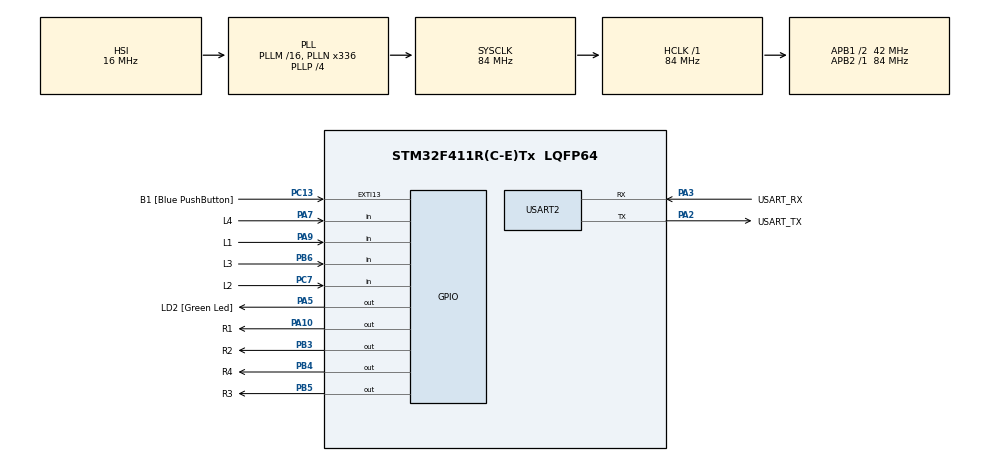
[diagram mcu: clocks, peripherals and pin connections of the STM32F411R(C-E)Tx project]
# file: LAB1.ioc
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Mcu.Family=STM32F4
Mcu.Name=STM32F411R(C-E)Tx
Mcu.Package=LQFP64
NVIC.PriorityGroup=NVIC_PRIORITYGROUP_0
PA10.GPIO_Label=R1
PA10.GPIO_ModeDefaultOutputPP=GPIO_MODE_OUTPUT_OD
PA10.GPIO_PuPd=GPIO_NOPULL
PA10.PinState=GPIO_PIN_SET
PA10.Signal=GPIO_Output
PA13.GPIO_Label=TMS
PA13.Mode=Serial_Wire
PA13.Signal=SYS_JTMS-SWDIO
PA14.GPIO_Label=TCK
PA14.Mode=Serial_Wire
PA14.Signal=SYS_JTCK-SWCLK
PA2.GPIO_Label=USART_TX
PA2.Mode=Asynchronous
PA2.Signal=USART2_TX
PA3.GPIO_Label=USART_RX
PA3.Mode=Asynchronous
PA3.Signal=USART2_RX
PA5.GPIO_Label=LD2 [Green Led]
PA5.Signal=GPIO_Output
PA7.GPIO_Label=L4
PA7.GPIO_PuPd=GPIO_PULLUP
PA7.Signal=GPIO_Input
PA9.GPIO_Label=L1
PA9.GPIO_PuPd=GPIO_PULLUP
PA9.Signal=GPIO_Input
PB3.GPIO_Label=R2
PB3.GPIO_ModeDefaultOutputPP=GPIO_MODE_OUTPUT_OD
PB3.GPIO_PuPd=GPIO_NOPULL
PB3.PinState=GPIO_PIN_SET
PB3.Signal=GPIO_Output
PB4.GPIO_Label=R4
PB4.GPIO_ModeDefaultOutputPP=GPIO_MODE_OUTPUT_OD
PB4.GPIO_PuPd=GPIO_NOPULL
PB4.PinState=GPIO_PIN_SET
PB4.Signal=GPIO_Output
PB5.GPIO_Label=R3
PB5.GPIO_ModeDefaultOutputPP=GPIO_MODE_OUTPUT_OD
PB5.GPIO_PuPd=GPIO_NOPULL
PB5.PinState=GPIO_PIN_SET
PB5.Signal=GPIO_Output
PB6.GPIO_Label=L3
PB6.GPIO_PuPd=GPIO_PULLUP
PB6.Signal=GPIO_Input
PC13-ANTI_TAMP.GPIO_Label=B1 [Blue PushButton]
PC13-ANTI_TAMP.GPIO_ModeDefaultEXTI=GPIO_MODE_IT_FALLING
PC13-ANTI_TAMP.Signal=GPXTI13
PC14-OSC32_IN.Mode=LSE-External-Oscillator
PC14-OSC32_IN.Signal=RCC_OSC32_IN
PC15-OSC32_OUT.Mode=LSE-External-Oscillator
PC15-OSC32_OUT.Signal=RCC_OSC32_OUT
PC7.GPIO_Label=L2
PC7.GPIO_PuPd=GPIO_PULLUP
PC7.Signal=GPIO_Input
PH0\ -\ OSC_IN.Mode=HSE-External-Clock-Source
PH0\ -\ OSC_IN.Signal=RCC_OSC_IN
PH1\ -\ OSC_OUT.Mode=HSE-External-Clock-Source
PH1\ -\ OSC_OUT.Signal=RCC_OSC_OUT
ProjectManager.HeapSize=0x200
ProjectManager.StackSize=0x400
ProjectManager.TargetToolchain=STM32CubeIDE
RCC.48MHZClocksFreq_Value=84000000
RCC.AHBFreq_Value=84000000
RCC.APB1CLKDivider=RCC_HCLK_DIV2
RCC.APB1Freq_Value=42000000
RCC.APB1TimFreq_Value=84000000
RCC.APB2Freq_Value=84000000
RCC.APB2TimFreq_Value=84000000
RCC.CortexFreq_Value=84000000
RCC.FLatency-AdvancedSettings=FLASH_LATENCY_2
RCC.HCLKFreq_Value=84000000
RCC.HSE_VALUE=8000000
RCC.HSI_VALUE=16000000
RCC.PLLN=336
RCC.PLLP=RCC_PLLP_DIV4
RCC.SYSCLKFreq_VALUE=84000000
RCC.SYSCLKSource=RCC_SYSCLKSOURCE_PLLCLK
RCC.VCOOutputFreq_Value=336000000
USART2.VirtualMode=VM_ASYNC
board=NUCLEO-F411RE

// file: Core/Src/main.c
/* USER CODE BEGIN Header */
/**
  ******************************************************************************
  * @file           : main.c
  * @brief          : Main program body
  ******************************************************************************
  * @attention
  *
  * Copyright (c) 2023 STMicroelectronics.
  * All rights reserved.
  *
  * This software is licensed under terms that can be found in the LICENSE file
  * in the root directory of this software component.
  * If no LICENSE file comes with this software, it is provided AS-IS.
  *
  ******************************************************************************
  */
/* USER CODE END Header */
#include "main.h"

UART_HandleTypeDef huart2;

/* USER CODE BEGIN PV */
struct PortPin
{
	GPIO_TypeDef* PORT;
	uint16_t PIN;
};

struct PortPin R[4] =
{
		{GPIOA, GPIO_PIN_10},
		{GPIOB, GPIO_PIN_3},
		{GPIOB, GPIO_PIN_5},
		{GPIOB, GPIO_PIN_4}
};

struct PortPin L[4] =
{
		{GPIOA, GPIO_PIN_9},
		{GPIOC, GPIO_PIN_7},
		{GPIOB, GPIO_PIN_6},
		{GPIOA, GPIO_PIN_7}
};
uint16_t a = 0;
//uint16_t ButtonMatrix = 0;
uint16_t ButtonMatrix_Last = 0;
uint16_t N = 0;
uint16_t IDinput[11] = {0};
uint16_t count = 0;

/* USER CODE END PV */

void SystemClock_Config(void);
static void MX_GPIO_Init(void);
static void MX_USART2_UART_Init(void);
/* USER CODE BEGIN PFP */
uint16_t ReadMatrixButton_1Row();
void checkinput(uint16_t ButtonMatrix);
/* USER CODE END PFP */

int main(void)
{

  /* MCU Configuration--------------------------------------------------------*/

  /* Reset of all peripherals, Initializes the Flash interface and the Systick. */
  HAL_Init();

  /* Configure the system clock */
  SystemClock_Config();

  /* Initialize all configured peripherals */
  MX_GPIO_Init();
  MX_USART2_UART_Init();

  /* Infinite loop */
  while (1)
  {

    /* USER CODE BEGIN 3 */
	  static uint32_t timestamp=0;
	  if(HAL_GetTick()>=timestamp){
		  timestamp=HAL_GetTick()+50;
		  a = ReadMatrixButton_1Row();
		  checkinput(a);
	  }
  }
  /* USER CODE END 3 */
}

void SystemClock_Config(void)
{
  RCC_OscInitTypeDef RCC_OscInitStruct = {0};
  RCC_ClkInitTypeDef RCC_ClkInitStruct = {0};

  /** Configure the main internal regulator output voltage
  */
  __HAL_RCC_PWR_CLK_ENABLE();
  __HAL_PWR_VOLTAGESCALING_CONFIG(PWR_REGULATOR_VOLTAGE_SCALE1);

  /** Initializes the RCC Oscillators according to the specified parameters
  * in the RCC_OscInitTypeDef structure.
  */
  RCC_OscInitStruct.OscillatorType = RCC_OSCILLATORTYPE_HSI;
  RCC_OscInitStruct.HSIState = RCC_HSI_ON;
  RCC_OscInitStruct.HSICalibrationValue = RCC_HSICALIBRATION_DEFAULT;
  RCC_OscInitStruct.PLL.PLLState = RCC_PLL_ON;
  RCC_OscInitStruct.PLL.PLLSource = RCC_PLLSOURCE_HSI;
  RCC_OscInitStruct.PLL.PLLM = 16;
  RCC_OscInitStruct.PLL.PLLN = 336;
  RCC_OscInitStruct.PLL.PLLP = RCC_PLLP_DIV4;
  RCC_OscInitStruct.PLL.PLLQ = 4;
  if (HAL_RCC_OscConfig(&RCC_OscInitStruct) != HAL_OK)
  {
    Error_Handler();
  }

  /** Initializes the CPU, AHB and APB buses clocks
  */
  RCC_ClkInitStruct.ClockType = RCC_CLOCKTYPE_HCLK|RCC_CLOCKTYPE_SYSCLK
                              |RCC_CLOCKTYPE_PCLK1|RCC_CLOCKTYPE_PCLK2;
  RCC_ClkInitStruct.SYSCLKSource = RCC_SYSCLKSOURCE_PLLCLK;
  RCC_ClkInitStruct.AHBCLKDivider = RCC_SYSCLK_DIV1;
  RCC_ClkInitStruct.APB1CLKDivider = RCC_HCLK_DIV2;
  RCC_ClkInitStruct.APB2CLKDivider = RCC_HCLK_DIV1;

  if (HAL_RCC_ClockConfig(&RCC_ClkInitStruct, FLASH_LATENCY_2) != HAL_OK)
  {
    Error_Handler();
  }
}

static void MX_USART2_UART_Init(void)
{

  huart2.Instance = USART2;
  huart2.Init.BaudRate = 115200;
  huart2.Init.WordLength = UART_WORDLENGTH_8B;
  huart2.Init.StopBits = UART_STOPBITS_1;
  huart2.Init.Parity = UART_PARITY_NONE;
  huart2.Init.Mode = UART_MODE_TX_RX;
  huart2.Init.HwFlowCtl = UART_HWCONTROL_NONE;
  huart2.Init.OverSampling = UART_OVERSAMPLING_16;
  if (HAL_UART_Init(&huart2) != HAL_OK)
  {
    Error_Handler();
  }

}

static void MX_GPIO_Init(void)
{
  GPIO_InitTypeDef GPIO_InitStruct = {0};

  /* GPIO Ports Clock Enable */
  __HAL_RCC_GPIOC_CLK_ENABLE();
  __HAL_RCC_GPIOH_CLK_ENABLE();
  __HAL_RCC_GPIOA_CLK_ENABLE();
  __HAL_RCC_GPIOB_CLK_ENABLE();

  /*Configure GPIO pin Output Level */
  HAL_GPIO_WritePin(LD2_GPIO_Port, LD2_Pin, GPIO_PIN_RESET);

  /*Configure GPIO pin Output Level */
  HAL_GPIO_WritePin(R1_GPIO_Port, R1_Pin, GPIO_PIN_SET);

  /*Configure GPIO pin Output Level */
  HAL_GPIO_WritePin(GPIOB, R2_Pin|R4_Pin|R3_Pin, GPIO_PIN_SET);

  /*Configure GPIO pin : B1_Pin */
  GPIO_InitStruct.Pin = B1_Pin;
  GPIO_InitStruct.Mode = GPIO_MODE_IT_FALLING;
  GPIO_InitStruct.Pull = GPIO_NOPULL;
  HAL_GPIO_Init(B1_GPIO_Port, &GPIO_InitStruct);

  /*Configure GPIO pin : LD2_Pin */
  GPIO_InitStruct.Pin = LD2_Pin;
  GPIO_InitStruct.Mode = GPIO_MODE_OUTPUT_PP;
  GPIO_InitStruct.Pull = GPIO_NOPULL;
  GPIO_InitStruct.Speed = GPIO_SPEED_FREQ_LOW;
  HAL_GPIO_Init(LD2_GPIO_Port, &GPIO_InitStruct);

  /*Configure GPIO pins : L4_Pin L1_Pin */
  GPIO_InitStruct.Pin = L4_Pin|L1_Pin;
  GPIO_InitStruct.Mode = GPIO_MODE_INPUT;
  GPIO_InitStruct.Pull = GPIO_PULLUP;
  HAL_GPIO_Init(GPIOA, &GPIO_InitStruct);

  /*Configure GPIO pin : L2_Pin */
  GPIO_InitStruct.Pin = L2_Pin;
  GPIO_InitStruct.Mode = GPIO_MODE_INPUT;
  GPIO_InitStruct.Pull = GPIO_PULLUP;
  HAL_GPIO_Init(L2_GPIO_Port, &GPIO_InitStruct);

  /*Configure GPIO pin : R1_Pin */
  GPIO_InitStruct.Pin = R1_Pin;
  GPIO_InitStruct.Mode = GPIO_MODE_OUTPUT_OD;
  GPIO_InitStruct.Pull = GPIO_NOPULL;
  GPIO_InitStruct.Speed = GPIO_SPEED_FREQ_LOW;
  HAL_GPIO_Init(R1_GPIO_Port, &GPIO_InitStruct);

  /*Configure GPIO pins : R2_Pin R4_Pin R3_Pin */
  GPIO_InitStruct.Pin = R2_Pin|R4_Pin|R3_Pin;
  GPIO_InitStruct.Mode = GPIO_MODE_OUTPUT_OD;
  GPIO_InitStruct.Pull = GPIO_NOPULL;
  GPIO_InitStruct.Speed = GPIO_SPEED_FREQ_LOW;
  HAL_GPIO_Init(GPIOB, &GPIO_InitStruct);

  /*Configure GPIO pin : L3_Pin */
  GPIO_InitStruct.Pin = L3_Pin;
  GPIO_InitStruct.Mode = GPIO_MODE_INPUT;
  GPIO_InitStruct.Pull = GPIO_PULLUP;
  HAL_GPIO_Init(L3_GPIO_Port, &GPIO_InitStruct);

}

/* USER CODE BEGIN 4 */
uint16_t ReadMatrixButton_1Row()
{
	//
	static uint8_t X = 0;
	static uint16_t ButtonMatrix = 0;
	//READ L1-L4
	register int i;
	for(i=0;i<4;i++)
	{
		if(HAL_GPIO_ReadPin(L[i].PORT, L[i].PIN))
		{
			ButtonMatrix &= ~(1<<X*4+i);
		}
		else
		{
			ButtonMatrix |= 1<<(X*4+i);
		}
	}
	//SET RX
	HAL_GPIO_WritePin(R[X].PORT, R[X].PIN, 1);
	//RESET RX+1%4
	HAL_GPIO_WritePin(R[(X+1)%4].PORT, R[(X+1)%4].PIN, 0);
	X++;
	X%=4;
	return ButtonMatrix;
}

void checkinput(uint16_t ButtonMatrix)
{
	if(ButtonMatrix_Last == 0 && ButtonMatrix != 0){
		HAL_GPIO_WritePin(GPIOA, GPIO_PIN_5, GPIO_PIN_RESET);
		if(ButtonMatrix == 32768){			// OK
			if(IDinput[0] == 16 && IDinput[1] == 4 && IDinput[2] == 8 && IDinput[3] == 8 && IDinput[4] == 8 && IDinput[5] == 32 && IDinput[6] == 8 && IDinput[7] == 2 && IDinput[8] == 1024 && IDinput[9] == 2 && IDinput[10] == 512)
			{		// 64340500018
				HAL_GPIO_WritePin(GPIOA, GPIO_PIN_5, GPIO_PIN_SET);
			}
		}
		else if(ButtonMatrix == 4096){		// CLEAR
			register int i;
			for(i=11;i>=1;i--)
			{
				IDinput[i-1]=0;
			}
			count = 0;
		}
		else if(ButtonMatrix == 8192){		// BACKSPACE
			IDinput[0]=0;
			N = 1;
			count--;
		}
		else if(N == 1){
			IDinput[0] = ButtonMatrix;
			N = 0;
			count++;
		}
		else if(ButtonMatrix == 128 || ButtonMatrix == 2048 || ButtonMatrix == 16384)
		{
			count = count;
		}
		else if(count < 11){				// NUMBER
			register int j;
			for(j=10;j>=1;j--)
			{
				IDinput[j]=IDinput[j-1];
			}
			IDinput[0] = ButtonMatrix;
			count++;
		}
	}
	ButtonMatrix_Last = ButtonMatrix;
}
/* USER CODE END 4 */

void Error_Handler(void)
{
  __disable_irq();
  while (1)
  {
  }
}
